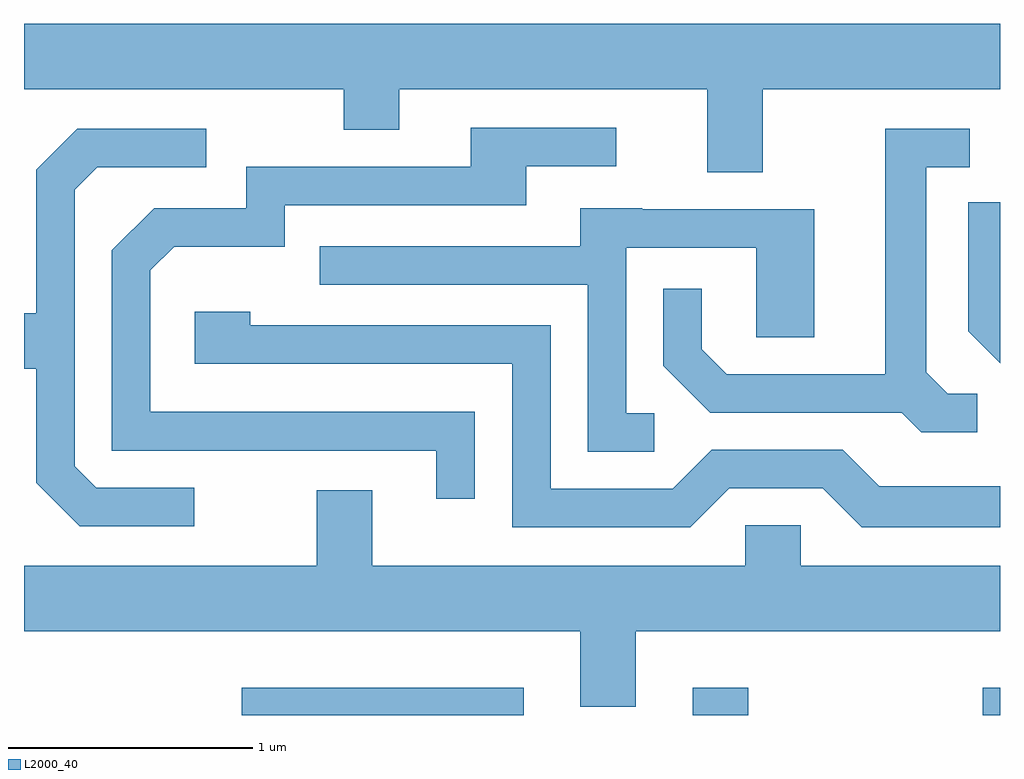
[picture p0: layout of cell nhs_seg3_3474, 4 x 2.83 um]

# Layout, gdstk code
import gdstk
lib = gdstk.Library(unit=1e-6, precision=1e-09)
def R(c, l, rs):  # rectangles x0, y0, x1, y1
    for r in rs: c.add(gdstk.rectangle(r[:2], r[2:], *l))
def P(c, l, *ps):  # polygons
    for p in ps: c.add(gdstk.Polygon(p, *l))
L2000_40 = (2000, 40)

nhs_seg3_3474 = lib.new_cell('nhs_seg3_3474')
R(nhs_seg3_3474, L2000_40, [(288.503,1127.892,289.659,1128.004), (290.351,1127.892,290.579,1128.004), (291.541,1127.892,291.611,1128.004)])
P(nhs_seg3_3474, L2000_40, [(290.639,1130.456),(291.611,1130.456),(291.611,1130.724),(287.611,1130.724),(287.611,1130.456),(288.921,1130.456),(288.921,1130.291),(289.149,1130.291),(289.149,1130.456),(290.411,1130.456),(290.411,1130.116),(290.639,1130.116)],
  [(289.459,1129.134),(288.129,1129.134),(288.129,1129.714),(288.227,1129.811),(288.679,1129.811),(288.679,1129.981),(289.669,1129.981),(289.669,1130.141),(290.038,1130.141),(290.038,1130.299),(289.441,1130.299),(289.441,1130.139),(288.521,1130.139),(288.521,1129.969),(288.144,1129.969),(287.971,1129.797),(287.971,1128.976),(289.301,1128.976),(289.301,1128.778),(289.459,1128.778)],
  [(288.308,1128.824),(287.907,1128.824),(287.819,1128.912),(287.819,1130.044),(287.912,1130.136),(288.358,1130.136),(288.358,1130.294),(287.829,1130.294),(287.661,1130.127),(287.661,1129.539),(287.611,1129.539),(287.611,1129.311),(287.661,1129.311),(287.661,1128.844),(287.839,1128.666),(288.308,1128.666)],
  [(291.518,1129.209),(291.397,1129.209),(291.309,1129.297),(291.309,1130.136),(291.488,1130.136),(291.488,1130.294),(291.141,1130.294),(291.141,1129.289),(290.492,1129.289),(290.389,1129.392),(290.389,1129.638),(290.231,1129.638),(290.231,1129.324),(290.424,1129.131),(291.209,1129.131),(291.289,1129.051),(291.518,1129.051)],
  [(291.611,1129.993),(291.481,1129.993),(291.481,1129.464),(291.611,1129.334)],
  [(290.193,1129.129),(290.079,1129.129),(290.079,1129.806),(290.611,1129.806),(290.611,1129.441),(290.849,1129.441),(290.849,1129.964),(290.145,1129.964),(290.145,1129.969),(289.891,1129.969),(289.891,1129.814),(288.823,1129.814),(288.823,1129.656),(289.921,1129.656),(289.921,1128.971),(290.193,1128.971)],
  [(290.502,1128.821),(290.884,1128.821),(291.044,1128.661),(291.611,1128.661),(291.611,1128.829),(291.117,1128.829),(290.967,1128.979),(290.429,1128.979),(290.269,1128.819),(289.769,1128.819),(289.769,1129.489),(288.539,1129.489),(288.539,1129.544),(288.311,1129.544),(288.311,1129.331),(289.611,1129.331),(289.611,1128.661),(290.342,1128.661)],
  [(290.119,1128.236),(291.611,1128.236),(291.611,1128.504),(290.794,1128.504),(290.794,1128.669),(290.566,1128.669),(290.566,1128.504),(289.039,1128.504),(289.039,1128.814),(288.811,1128.814),(288.811,1128.504),(287.611,1128.504),(287.611,1128.236),(289.891,1128.236),(289.891,1127.926),(290.119,1127.926)])

lib.write_gds('nhs_seg3_3474.gds')
